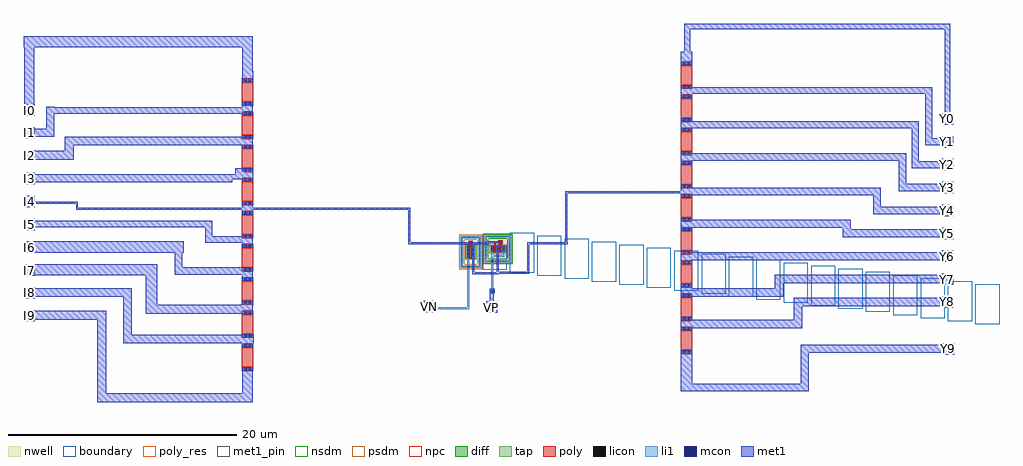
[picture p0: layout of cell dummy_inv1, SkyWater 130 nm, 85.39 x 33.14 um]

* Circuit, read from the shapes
.subckt dummy_inv1 I0 I1 I2 I3 I4 I5 I6 I7 I8 I9 VN VP Y0 Y1 Y2 Y3 Y4 Y5 Y6 Y7 Y8 Y9
XM1 Y4 I4 VN VN sky130_fd_pr__nfet_01v8 w=1 l=0.15
XM2 Y4 I4 VP VP sky130_fd_pr__pfet_01v8 w=0.5 l=0.15 m=2
R3 I8 I9 sky130_fd_pr__res_generic_po w=1 l=1.65
R4 I7 I8 sky130_fd_pr__res_generic_po w=1 l=1.65
R5 I6 I7 sky130_fd_pr__res_generic_po w=1 l=1.65
R6 I5 I6 sky130_fd_pr__res_generic_po w=1 l=1.65
R7 I4 I5 sky130_fd_pr__res_generic_po w=1 l=1.65
R8 I3 I4 sky130_fd_pr__res_generic_po w=1 l=1.65
R9 I2 I3 sky130_fd_pr__res_generic_po w=1 l=1.65
R10 I1 I2 sky130_fd_pr__res_generic_po w=1 l=1.65
R11 I0 I1 sky130_fd_pr__res_generic_po w=1 l=1.65
R12 Y8 Y9 sky130_fd_pr__res_generic_po w=1 l=1.65
R13 Y7 Y8 sky130_fd_pr__res_generic_po w=1 l=1.65
R14 Y6 Y7 sky130_fd_pr__res_generic_po w=1 l=1.65
R15 Y5 Y6 sky130_fd_pr__res_generic_po w=1 l=1.65
R16 Y4 Y5 sky130_fd_pr__res_generic_po w=1 l=1.65
R17 Y3 Y4 sky130_fd_pr__res_generic_po w=1 l=1.65
R18 Y2 Y3 sky130_fd_pr__res_generic_po w=1 l=1.65
R19 Y1 Y2 sky130_fd_pr__res_generic_po w=1 l=1.65
R20 Y0 Y1 sky130_fd_pr__res_generic_po w=1 l=1.65
.ends

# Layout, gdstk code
import gdstk
lib = gdstk.Library(unit=1e-6, precision=1e-09)
def R(c, l, rs):  # rectangles x0, y0, x1, y1
    for r in rs: c.add(gdstk.rectangle(r[:2], r[2:], *l))
def A(c, l, x, y, w, h, nx, ny, dx, dy):  # array of equal rectangles
    R(c, l, [(x+i*dx, y+j*dy, x+i*dx+w, y+j*dy+h) for i in range(nx) for j in range(ny)])
nwell = (64, 20)
diff = (65, 20)
tap = (65, 44)
poly_res = (66, 13)
poly = (66, 20)
licon = (66, 44)
li1 = (67, 20)
mcon = (67, 44)
met1_pin = (68, 16)
met1 = (68, 20)
nsdm = (93, 44)
psdm = (94, 20)
npc = (95, 20)
boundary = (235, 4)

sky130_fd_pr__pfet_01v8_ = lib.new_cell('sky130_fd_pr__pfet_01v8_XJT6XQ')
R(sky130_fd_pr__pfet_01v8_, nwell, [(-1.045,-0.605,1.585,2.085)])
R(sky130_fd_pr__pfet_01v8_, diff, [(-0.355,0.49,0.895,0.99)])
R(sky130_fd_pr__pfet_01v8_, tap, [(-0.865,-0.425,1.405,-0.255), (-0.865,-0.255,-0.695,1.735), (1.235,-0.255,1.405,1.735), (-0.865,1.735,1.405,1.905)])
R(sky130_fd_pr__pfet_01v8_, poly, [(-0.045,0.335,0.105,1.245), (0.435,0.36,0.585,1.145), (0.345,1.145,0.675,1.245), (-0.045,1.245,0.675,1.4), (0.345,1.4,0.675,1.475)])
A(sky130_fd_pr__pfet_01v8_, licon, -0.325, -0.425, 0.17, 0.17, 4, 2, 0.34, 2.16)
A(sky130_fd_pr__pfet_01v8_, licon, -0.865, 0.145, 0.17, 0.17, 1, 4, 0, 0.34)
A(sky130_fd_pr__pfet_01v8_, licon, 1.235, 0.145, 0.17, 0.17, 1, 4, 0, 0.34)
A(sky130_fd_pr__pfet_01v8_, licon, -0.295, 0.655, 0.17, 0.17, 3, 1, 0.48, 0)
R(sky130_fd_pr__pfet_01v8_, licon, [(0.425,1.225,0.595,1.395)])
R(sky130_fd_pr__pfet_01v8_, li1, [(-0.355,-3.125,-0.035,-2.765), (-0.295,-2.765,-0.125,-0.425), (-0.865,-0.425,1.405,-0.255), (-0.865,-0.255,-0.695,1.735), (-0.295,-0.255,-0.125,0.05), (1.235,-0.255,1.405,1.735), (-0.295,0.05,0.835,0.22), (-0.295,0.22,-0.125,1.01), (0.665,0.22,0.835,1.01), (0.185,0.47,0.355,1.01), (0.345,1.225,0.675,1.395), (-0.865,1.735,1.405,1.905)])
A(sky130_fd_pr__pfet_01v8_, mcon, -0.295, 0.655, 0.17, 0.17, 3, 1, 0.48, 0)
R(sky130_fd_pr__pfet_01v8_, mcon, [(-0.28,-3.04,-0.11,-2.87), (0.425,1.225,0.595,1.395)])
A(sky130_fd_pr__pfet_01v8_, met1, -0.325, 0.49, 0.23, 0.5, 3, 1, 0.48, 0)
R(sky130_fd_pr__pfet_01v8_, met1, [(16.275,-11.72,27.46,-11.045), (16.275,-11.045,17.265,-8.14), (26.785,-11.045,27.46,-8.34), (26.785,-8.34,40.015,-7.665), (16.265,-6.345,17.255,-6.21), (16.265,-6.21,26.915,-5.47), (16.265,-5.47,17.255,-5.185), (26.175,-5.47,26.915,-4.27), (-0.445,-4.53,-0.08,-3.135), (26.175,-4.27,39.975,-3.53), (16.285,-3.49,17.275,-3.47), (16.285,-3.47,25.285,-2.69), (-0.45,-3.135,-0.005,-2.735), (16.285,-2.69,17.275,-2.33), (24.505,-2.69,25.285,-2.29), (24.505,-2.29,39.995,-1.51), (0.185,-1.425,3.015,-1.255), (0.185,-1.255,0.355,0.49), (2.845,-1.255,3.015,1.135), (16.29,-0.595,17.28,-0.24), (16.29,-0.24,39.95,0.445), (16.29,0.445,17.28,0.565), (2.845,1.135,6.37,1.305), (0.365,1.195,0.655,1.225), (0.345,1.225,0.655,1.24), (0.155,1.24,0.655,1.395), (6.155,1.305,6.325,5.61), (0.365,1.395,0.655,1.425), (30.445,1.76,39.95,2.445), (16.275,2.315,17.265,2.58), (30.445,2.445,31.13,2.58), (16.275,2.58,31.13,3.265), (16.275,3.265,17.265,3.475), (33.11,3.77,39.935,4.43), (33.11,4.43,33.77,5.425), (16.275,5.205,17.265,5.425), (16.275,5.425,33.77,5.61), (6.155,5.61,33.77,5.78), (35.35,5.775,39.93,6.425), (16.275,5.78,33.77,6.085), (16.275,6.085,17.265,6.365), (35.35,6.425,36,8.435), (36.495,7.8,39.905,8.4), (16.28,8.11,17.27,8.435), (36.495,8.4,37.095,11.29), (16.28,8.435,36,9.085), (16.28,9.085,17.27,9.27), (37.68,9.805,39.905,10.4), (37.68,10.4,38.275,14.29), (16.275,11.015,17.265,11.29), (16.275,11.29,37.095,11.89), (39.35,11.845,39.865,19.93), (16.275,11.89,17.265,12.175), (16.28,13.91,17.27,14.29), (16.28,14.29,38.275,14.885), (16.28,14.885,17.27,15.07), (16.285,16.815,17.275,17.975), (16.57,17.975,17.085,19.93), (16.57,19.93,39.865,20.445)])
R(sky130_fd_pr__pfet_01v8_, nsdm, [(-0.99,-0.55,1.53,-0.13), (-0.99,-0.13,-0.57,1.61), (1.11,-0.13,1.53,1.61), (-0.99,1.61,1.53,2.03)])
R(sky130_fd_pr__pfet_01v8_, psdm, [(-0.48,0.365,1.02,1.115)])
R(sky130_fd_pr__pfet_01v8_, npc, [(0.325,1.125,0.695,1.495)])
R(sky130_fd_pr__pfet_01v8_, boundary, [(-1.05,-1.08,1.05,1.08)])

sky130_fd_pr__res_generi = lib.new_cell('sky130_fd_pr__res_generic_po_JD8CB6')
A(sky130_fd_pr__res_generi, poly_res, -5.03, -20.805, 1, 1.65, 1, 9, 0, 2.9)
A(sky130_fd_pr__res_generi, poly, -5.03, -21.17, 1, 2.38, 1, 9, 0, 2.9)
R(sky130_fd_pr__res_generi, licon, [(-4.785,-21.09,-4.615,-20.92), (-4.445,-21.09,-4.275,-20.92), (-4.785,-19.04,-4.615,-18.87), (-4.445,-19.04,-4.275,-18.87), (-4.785,-18.19,-4.615,-18.02), (-4.445,-18.19,-4.275,-18.02), (-4.785,-16.14,-4.615,-15.97), (-4.445,-16.14,-4.275,-15.97), (-4.785,-15.29,-4.615,-15.12), (-4.445,-15.29,-4.275,-15.12), (-4.785,-13.24,-4.615,-13.07), (-4.445,-13.24,-4.275,-13.07), (-4.785,-12.39,-4.615,-12.22), (-4.445,-12.39,-4.275,-12.22), (-4.785,-10.34,-4.615,-10.17), (-4.445,-10.34,-4.275,-10.17), (-4.785,-9.49,-4.615,-9.32), (-4.445,-9.49,-4.275,-9.32), (-4.785,-7.44,-4.615,-7.27), (-4.445,-7.44,-4.275,-7.27), (-4.785,-6.59,-4.615,-6.42), (-4.445,-6.59,-4.275,-6.42), (-4.785,-4.54,-4.615,-4.37), (-4.445,-4.54,-4.275,-4.37), (-4.785,-3.69,-4.615,-3.52), (-4.445,-3.69,-4.275,-3.52), (-4.785,-1.64,-4.615,-1.47), (-4.445,-1.64,-4.275,-1.47), (-4.785,-0.79,-4.615,-0.62), (-4.445,-0.79,-4.275,-0.62), (-4.785,1.26,-4.615,1.43), (-4.445,1.26,-4.275,1.43), (-4.785,2.11,-4.615,2.28), (-4.445,2.11,-4.275,2.28), (-4.785,4.16,-4.615,4.33), (-4.445,4.16,-4.275,4.33)])
R(sky130_fd_pr__res_generi, li1, [(-5.03,-21.09,-4.03,-20.92), (-4.95,-20.92,-4.11,-20.89), (-4.95,-19.07,-4.11,-19.04), (-5.03,-19.04,-4.03,-18.87), (-5.03,-18.19,-4.03,-18.02), (-4.95,-18.02,-4.11,-17.99), (-4.95,-16.17,-4.11,-16.14), (-5.03,-16.14,-4.03,-15.97), (-5.03,-15.29,-4.03,-15.12), (-4.95,-15.12,-4.11,-15.09), (-4.95,-13.27,-4.11,-13.24), (-5.03,-13.24,-4.03,-13.07), (-5.03,-12.39,-4.03,-12.22), (-4.95,-12.22,-4.11,-12.19), (-4.95,-10.37,-4.11,-10.34), (-5.03,-10.34,-4.03,-10.17), (-5.03,-9.49,-4.03,-9.32), (-4.95,-9.32,-4.11,-9.29), (-4.95,-7.47,-4.11,-7.44), (-5.03,-7.44,-4.03,-7.27), (-5.03,-6.59,-4.03,-6.42), (-4.95,-6.42,-4.11,-6.39), (-4.95,-4.57,-4.11,-4.54), (-5.03,-4.54,-4.03,-4.37), (-5.03,-3.69,-4.03,-3.52), (-4.95,-3.52,-4.11,-3.49), (-4.95,-1.67,-4.11,-1.64), (-5.03,-1.64,-4.03,-1.47), (-5.03,-0.79,-4.03,-0.62), (-4.95,-0.62,-4.11,-0.59), (-4.95,1.23,-4.11,1.26), (-5.03,1.26,-4.03,1.43), (-5.03,2.11,-4.03,2.28), (-4.95,2.28,-4.11,2.31), (-4.95,4.13,-4.11,4.16), (-5.03,4.16,-4.03,4.33)])
R(sky130_fd_pr__res_generi, mcon, [(-4.795,-21.075,-4.625,-20.905), (-4.435,-21.075,-4.265,-20.905), (-4.795,-19.055,-4.625,-18.885), (-4.435,-19.055,-4.265,-18.885), (-4.795,-18.175,-4.625,-18.005), (-4.435,-18.175,-4.265,-18.005), (-4.795,-16.155,-4.625,-15.985), (-4.435,-16.155,-4.265,-15.985), (-4.795,-15.275,-4.625,-15.105), (-4.435,-15.275,-4.265,-15.105), (-4.795,-13.255,-4.625,-13.085), (-4.435,-13.255,-4.265,-13.085), (-4.795,-12.375,-4.625,-12.205), (-4.435,-12.375,-4.265,-12.205), (-4.795,-10.355,-4.625,-10.185), (-4.435,-10.355,-4.265,-10.185), (-4.795,-9.475,-4.625,-9.305), (-4.435,-9.475,-4.265,-9.305), (-4.795,-7.455,-4.625,-7.285), (-4.435,-7.455,-4.265,-7.285), (-4.795,-6.575,-4.625,-6.405), (-4.435,-6.575,-4.265,-6.405), (-4.795,-4.555,-4.625,-4.385), (-4.435,-4.555,-4.265,-4.385), (-4.795,-3.675,-4.625,-3.505), (-4.435,-3.675,-4.265,-3.505), (-4.795,-1.655,-4.625,-1.485), (-4.435,-1.655,-4.265,-1.485), (-4.795,-0.775,-4.625,-0.605), (-4.435,-0.775,-4.265,-0.605), (-4.795,1.245,-4.625,1.415), (-4.435,1.245,-4.265,1.415), (-4.795,2.125,-4.625,2.295), (-4.435,2.125,-4.265,2.295), (-4.795,4.145,-4.625,4.315), (-4.435,4.145,-4.265,4.315)])
R(sky130_fd_pr__res_generi, met1, [(-5.01,-21.12,-4.05,-20.86), (-5.01,-19.1,-4.05,-18.84), (-5.01,-18.22,-4.05,-17.96), (-5.01,-16.2,-4.05,-15.94), (-5.01,-15.32,-4.05,-15.06), (-5.01,-13.3,-4.05,-13.04), (-5.01,-12.42,-4.05,-12.16), (-5.01,-10.4,-4.05,-10.14), (-5.01,-9.52,-4.05,-9.26), (-5.01,-7.5,-4.05,-7.24), (-5.01,-6.62,-4.05,-6.36), (-5.01,-4.6,-4.05,-4.34), (-5.01,-3.72,-4.05,-3.46), (-5.01,-1.7,-4.05,-1.44), (-5.01,-0.82,-4.05,-0.56), (-5.01,1.2,-4.05,1.46), (-5.01,2.08,-4.05,2.34), (-5.01,4.1,-4.05,4.36)])
R(sky130_fd_pr__res_generi, npc, [(-4.885,-21.19,-4.175,-20.82), (-4.885,-19.14,-4.175,-18.77), (-4.885,-18.29,-4.175,-17.92), (-4.885,-16.24,-4.175,-15.87), (-4.885,-15.39,-4.175,-15.02), (-4.885,-13.34,-4.175,-12.97), (-4.885,-12.49,-4.175,-12.12), (-4.885,-10.44,-4.175,-10.07), (-4.885,-9.59,-4.175,-9.22), (-4.885,-7.54,-4.175,-7.17), (-4.885,-6.69,-4.175,-6.32), (-4.885,-4.64,-4.175,-4.27), (-4.885,-3.79,-4.175,-3.42), (-4.885,-1.74,-4.175,-1.37), (-4.885,-0.89,-4.175,-0.52), (-4.885,1.16,-4.175,1.53), (-4.885,2.01,-4.175,2.38), (-4.885,4.06,-4.175,4.43)])

c_sky130_fd_pr__res_generi = lib.new_cell('sky130_fd_pr__res_generic_po_4WEV9M')
R(c_sky130_fd_pr__res_generi, boundary, [(-1.06,-1.75,1.06,1.75)])

c_sky130_fd_pr__res_generi_ = lib.new_cell('sky130_fd_pr__res_generic_po_C4R5Y4')

sky130_fd_pr__nfet_01v8_ = lib.new_cell('sky130_fd_pr__nfet_01v8_648S5X')
R(sky130_fd_pr__nfet_01v8_, nwell, [(1.545,0.77,2.345,0.865), (1.545,0.865,2.485,0.91), (2.315,0.91,2.485,0.935)])
R(sky130_fd_pr__nfet_01v8_, diff, [(-0.365,-0.5,0.365,0.5)])
R(sky130_fd_pr__nfet_01v8_, tap, [(-0.875,-1.37,0.875,-1.2), (-0.875,-1.2,-0.705,1.2), (0.705,-1.2,0.875,1.2), (-0.875,1.2,0.875,1.37)])
R(sky130_fd_pr__nfet_01v8_, poly, [(-0.075,-0.635,0.075,0.61), (-0.165,0.61,0.165,0.94)])
A(sky130_fd_pr__nfet_01v8_, licon, -0.875, -0.765, 0.17, 0.17, 1, 5, 0, 0.34)
A(sky130_fd_pr__nfet_01v8_, licon, 0.705, -0.765, 0.17, 0.17, 1, 5, 0, 0.34)
A(sky130_fd_pr__nfet_01v8_, licon, -0.305, -0.425, 0.17, 0.17, 1, 3, 0, 0.34)
A(sky130_fd_pr__nfet_01v8_, licon, 0.135, -0.425, 0.17, 0.17, 1, 3, 0, 0.34)
R(sky130_fd_pr__nfet_01v8_, licon, [(-0.255,-1.37,-0.085,-1.2), (0.085,-1.37,0.255,-1.2), (-0.085,0.69,0.085,0.86), (-0.255,1.2,-0.085,1.37), (0.085,1.2,0.255,1.37)])
R(sky130_fd_pr__nfet_01v8_, li1, [(-4.115,-5.29,-3.11,-5), (-4.115,-5,-0.135,-4.83), (-4.115,-4.83,-3.11,-4.28), (-0.305,-4.83,-0.135,-1.37), (-0.875,-1.37,0.875,-1.2), (-0.875,-1.2,-0.705,1.2), (-0.305,-1.2,-0.135,0.52), (0.705,-1.2,0.875,1.2), (0.135,-0.52,0.305,0.52), (-0.165,0.69,0.165,0.86), (-0.875,1.2,0.875,1.37)])
R(sky130_fd_pr__nfet_01v8_, mcon, [(-3.815,-4.875,-3.645,-4.705), (-3.455,-4.875,-3.285,-4.705), (-0.305,-0.265,-0.135,-0.095), (0.135,-0.265,0.305,-0.095), (-0.305,0.095,-0.135,0.265), (0.135,0.095,0.305,0.265), (-0.085,0.69,0.085,0.86)])
R(sky130_fd_pr__nfet_01v8_, met1, [(-32.685,-13.165,-19.075,-13.065), (-32.685,-13.065,-19.06,-12.38), (-32.685,-12.38,-31.9,-5.95), (-20.005,-12.38,-19.06,-10.18), (-20.01,-8.345,-19.04,-8), (-30.42,-8,-18.96,-7.245), (-30.42,-7.245,-29.665,-3.935), (-38.98,-5.95,-31.9,-5.165), (-28.45,-5.4,-27.455,-5.395), (-28.45,-5.395,-19.205,-5.355), (-28.45,-5.355,-19.05,-4.725), (-4.115,-5.29,-3.11,-4.28), (-28.45,-4.725,-19.045,-4.625), (-28.45,-4.625,-27.435,-4.495), (-20.015,-4.625,-19.045,-4.285), (-28.45,-4.495,-27.44,-4.275), (-28.44,-4.275,-27.44,-2.06), (-38.965,-3.935,-29.665,-3.18), (-19.995,-2.46,-19.05,-2.01), (-39.09,-2.06,-27.44,-1.06), (-25.91,-2.01,-19.05,-1.45), (0.13,-1.97,2.46,-1.8), (0.13,-1.8,0.3,-0.5), (-25.91,-1.45,-19.215,-1.355), (-25.91,-1.355,-25.255,-0.06), (-0.335,-0.5,-0.105,0.5), (0.105,-0.5,0.335,0.5), (-39.09,-0.06,-25.085,0.94), (-20.005,0.495,-19.06,0.785), (-0.145,0.66,0.145,0.69), (-5.48,0.69,1.575,0.77), (-5.48,0.77,2.345,0.86), (-23.22,0.785,-19.06,1.38), (-5.48,0.86,-5.31,3.7), (-0.145,0.86,0.145,0.89), (1.445,0.86,2.345,0.865), (1.445,0.865,2.485,0.935), (-23.22,1.38,-22.625,2.145), (-20.005,1.38,-19.06,1.505), (-38.885,2.145,-22.625,2.74), (-19.995,3.31,-19.05,3.7), (-34.53,3.7,-5.31,3.87), (-34.53,3.87,-34.36,4.22), (-19.995,3.87,-19.05,4.32), (-38.6,4.22,-34.36,4.39), (-38.93,6.1,-20.85,6.36), (-19.99,6.295,-19.045,6.36), (-38.93,6.36,-19.045,6.775), (-38.93,6.775,-30.82,6.78), (-20.62,6.775,-19.045,6.87), (-20.615,6.87,-19.045,7.305), (-38.98,8.05,-34.745,8.83), (-35.525,8.83,-34.745,9.315), (-20.025,9.185,-19.08,9.315), (-35.525,9.315,-19.08,10.095), (-38.94,10.09,-36.45,10.79), (-20.025,10.095,-19.08,10.195), (-37.15,10.79,-36.45,12.1), (-20,11.965,-19.055,12.1), (-37.15,12.1,-19.055,12.64), (-39.05,12.395,-38.205,17.925), (-37.15,12.64,-36.45,12.72), (-20,12.64,-19.055,12.975), (-19.99,14.905,-19.045,15.835), (-19.99,15.835,-19.06,17.925), (-39.095,17.925,-19.06,18.855)])
R(sky130_fd_pr__nfet_01v8_, nsdm, [(-0.49,-0.625,0.49,0.625)])
R(sky130_fd_pr__nfet_01v8_, psdm, [(-1,-1.495,1,-1.075), (-1,-1.075,-0.58,1.075), (0.58,-1.075,1,1.075), (-1,1.075,1,1.495)])
R(sky130_fd_pr__nfet_01v8_, npc, [(-0.185,0.59,0.185,0.96)])
R(sky130_fd_pr__nfet_01v8_, boundary, [(-0.79,-1.285,0.79,1.285)])

dummy_inv1 = lib.new_cell('dummy_inv1')
A(dummy_inv1, poly_res, 19.17, -4.275, 1, 1.65, 1, 9, 0, 2.9)
A(dummy_inv1, poly, 19.17, -4.64, 1, 2.38, 1, 9, 0, 2.9)
R(dummy_inv1, licon, [(19.415,-4.56,19.585,-4.39), (19.755,-4.56,19.925,-4.39), (19.415,-2.51,19.585,-2.34), (19.755,-2.51,19.925,-2.34), (19.415,-1.66,19.585,-1.49), (19.755,-1.66,19.925,-1.49), (19.415,0.39,19.585,0.56), (19.755,0.39,19.925,0.56), (19.415,1.24,19.585,1.41), (19.755,1.24,19.925,1.41), (19.415,3.29,19.585,3.46), (19.755,3.29,19.925,3.46), (19.415,4.14,19.585,4.31), (19.755,4.14,19.925,4.31), (19.415,6.19,19.585,6.36), (19.755,6.19,19.925,6.36), (19.415,7.04,19.585,7.21), (19.755,7.04,19.925,7.21), (19.415,9.09,19.585,9.26), (19.755,9.09,19.925,9.26), (19.415,9.94,19.585,10.11), (19.755,9.94,19.925,10.11), (19.415,11.99,19.585,12.16), (19.755,11.99,19.925,12.16), (19.415,12.84,19.585,13.01), (19.755,12.84,19.925,13.01), (19.415,14.89,19.585,15.06), (19.755,14.89,19.925,15.06), (19.415,15.74,19.585,15.91), (19.755,15.74,19.925,15.91), (19.415,17.79,19.585,17.96), (19.755,17.79,19.925,17.96), (19.415,18.64,19.585,18.81), (19.755,18.64,19.925,18.81), (19.415,20.69,19.585,20.86), (19.755,20.69,19.925,20.86)])
R(dummy_inv1, li1, [(19.17,-4.56,20.17,-4.39), (19.25,-4.39,20.09,-4.36), (19.25,-2.54,20.09,-2.51), (19.17,-2.51,20.17,-2.34), (19.17,-1.66,20.17,-1.49), (19.25,-1.49,20.09,-1.46), (19.25,0.36,20.09,0.39), (19.17,0.39,20.17,0.56), (19.17,1.24,20.17,1.41), (19.25,1.41,20.09,1.44), (19.25,3.26,20.09,3.29), (19.17,3.29,20.17,3.46), (19.17,4.14,20.17,4.31), (19.25,4.31,20.09,4.34), (19.25,6.16,20.09,6.19), (19.17,6.19,20.17,6.36), (19.17,7.04,20.17,7.21), (19.25,7.21,20.09,7.24), (19.25,9.06,20.09,9.09), (19.17,9.09,20.17,9.26), (19.17,9.94,20.17,10.11), (19.25,10.11,20.09,10.14), (19.25,11.96,20.09,11.99), (19.17,11.99,20.17,12.16), (19.17,12.84,20.17,13.01), (19.25,13.01,20.09,13.04), (19.25,14.86,20.09,14.89), (19.17,14.89,20.17,15.06), (19.17,15.74,20.17,15.91), (19.25,15.91,20.09,15.94), (19.25,17.76,20.09,17.79), (19.17,17.79,20.17,17.96), (19.17,18.64,20.17,18.81), (19.25,18.81,20.09,18.84), (19.25,20.66,20.09,20.69), (19.17,20.69,20.17,20.86)])
R(dummy_inv1, mcon, [(19.405,-4.545,19.575,-4.375), (19.765,-4.545,19.935,-4.375), (19.405,-2.525,19.575,-2.355), (19.765,-2.525,19.935,-2.355), (19.405,-1.645,19.575,-1.475), (19.765,-1.645,19.935,-1.475), (19.405,0.375,19.575,0.545), (19.765,0.375,19.935,0.545), (19.405,1.255,19.575,1.425), (19.765,1.255,19.935,1.425), (19.405,3.275,19.575,3.445), (19.765,3.275,19.935,3.445), (19.405,4.155,19.575,4.325), (19.765,4.155,19.935,4.325), (19.405,6.175,19.575,6.345), (19.765,6.175,19.935,6.345), (19.405,7.055,19.575,7.225), (19.765,7.055,19.935,7.225), (19.405,9.075,19.575,9.245), (19.765,9.075,19.935,9.245), (19.405,9.955,19.575,10.125), (19.765,9.955,19.935,10.125), (19.405,11.975,19.575,12.145), (19.765,11.975,19.935,12.145), (19.405,12.855,19.575,13.025), (19.765,12.855,19.935,13.025), (19.405,14.875,19.575,15.045), (19.765,14.875,19.935,15.045), (19.405,15.755,19.575,15.925), (19.765,15.755,19.935,15.925), (19.405,17.775,19.575,17.945), (19.765,17.775,19.935,17.945), (19.405,18.655,19.575,18.825), (19.765,18.655,19.935,18.825), (19.405,20.675,19.575,20.845), (19.765,20.675,19.935,20.845)])
A(dummy_inv1, met1_pin, -38.335, -1.8, 1, 1, 1, 10, 0, 2)
A(dummy_inv1, met1_pin, 42, -0.585, 1, 1, 1, 9, 0, 2)
R(dummy_inv1, met1_pin, [(42.07,-4.69,43.07,-3.69), (2.13,-1.035,3.13,-0.035), (-3.32,-1,-2.32,0)])
A(dummy_inv1, met1, -38.335, -1.8, 1, 1, 1, 10, 0, 2)
A(dummy_inv1, met1, 42, -0.585, 1, 1, 1, 9, 0, 2)
R(dummy_inv1, met1, [(42.07,-4.69,43.07,-3.69), (19.19,-4.59,20.15,-4.33), (19.19,-2.57,20.15,-2.31), (19.19,-1.69,20.15,-1.43), (2.13,-1.035,3.13,-0.035), (-3.32,-1,-2.32,0), (19.19,0.33,20.15,0.59), (19.19,1.21,20.15,1.47), (19.19,3.23,20.15,3.49), (19.19,4.11,20.15,4.37), (19.19,6.13,20.15,6.39), (19.19,7.01,20.15,7.27), (19.19,9.03,20.15,9.29), (19.19,9.91,20.15,10.17), (19.19,11.93,20.15,12.19), (19.19,12.81,20.15,13.07), (19.19,14.83,20.15,15.09), (19.19,15.71,20.15,15.97), (19.19,17.73,20.15,17.99), (19.19,18.61,20.15,18.87), (19.19,20.63,20.15,20.89)])
R(dummy_inv1, npc, [(19.315,-4.66,20.025,-4.29), (19.315,-2.61,20.025,-2.24), (19.315,-1.76,20.025,-1.39), (19.315,0.29,20.025,0.66), (19.315,1.14,20.025,1.51), (19.315,3.19,20.025,3.56), (19.315,4.04,20.025,4.41), (19.315,6.09,20.025,6.46), (19.315,6.94,20.025,7.31), (19.315,8.99,20.025,9.36), (19.315,9.84,20.025,10.21), (19.315,11.89,20.025,12.26), (19.315,12.74,20.025,13.11), (19.315,14.79,20.025,15.16), (19.315,15.64,20.025,16.01), (19.315,17.69,20.025,18.06), (19.315,18.54,20.025,18.91), (19.315,20.59,20.025,20.96)])
dummy_inv1.add(gdstk.Reference(sky130_fd_pr__pfet_01v8_, (2.895,3.815)))
dummy_inv1.add(gdstk.Reference(sky130_fd_pr__res_generi, (-14.2,15.05)))
dummy_inv1.add(gdstk.Reference(c_sky130_fd_pr__res_generi, (10.065,3.695)))
dummy_inv1.add(gdstk.Reference(c_sky130_fd_pr__res_generi, (7.67,3.96)))
dummy_inv1.add(gdstk.Reference(c_sky130_fd_pr__res_generi, (5.275,4.225)))
dummy_inv1.add(gdstk.Reference(c_sky130_fd_pr__res_generi, (19.645,2.635)))
dummy_inv1.add(gdstk.Reference(c_sky130_fd_pr__res_generi, (17.25,2.9)))
dummy_inv1.add(gdstk.Reference(c_sky130_fd_pr__res_generi, (14.855,3.165)))
dummy_inv1.add(gdstk.Reference(c_sky130_fd_pr__res_generi, (12.46,3.43)))
dummy_inv1.add(gdstk.Reference(c_sky130_fd_pr__res_generi, (29.225,1.575)))
dummy_inv1.add(gdstk.Reference(c_sky130_fd_pr__res_generi, (26.83,1.84)))
dummy_inv1.add(gdstk.Reference(c_sky130_fd_pr__res_generi, (24.435,2.105)))
dummy_inv1.add(gdstk.Reference(c_sky130_fd_pr__res_generi, (22.04,2.37)))
dummy_inv1.add(gdstk.Reference(c_sky130_fd_pr__res_generi, (36.41,0.78)))
dummy_inv1.add(gdstk.Reference(c_sky130_fd_pr__res_generi, (34.015,1.045)))
dummy_inv1.add(gdstk.Reference(c_sky130_fd_pr__res_generi, (31.62,1.31)))
dummy_inv1.add(gdstk.Reference(c_sky130_fd_pr__res_generi, (45.99,-0.28)))
dummy_inv1.add(gdstk.Reference(c_sky130_fd_pr__res_generi, (43.595,-0.015)))
dummy_inv1.add(gdstk.Reference(c_sky130_fd_pr__res_generi, (41.2,0.25)))
dummy_inv1.add(gdstk.Reference(c_sky130_fd_pr__res_generi, (38.805,0.515)))
dummy_inv1.add(gdstk.Reference(c_sky130_fd_pr__res_generi_, (36.005,13.84)))
dummy_inv1.add(gdstk.Reference(sky130_fd_pr__nfet_01v8_, (0.79,4.285)))
dummy_inv1.add(gdstk.Label('Y0', (42.5,15.915), layer=68, texttype=16))
dummy_inv1.add(gdstk.Label('Y1', (42.5,13.915), layer=68, texttype=16))
dummy_inv1.add(gdstk.Label('Y2', (42.5,11.915), layer=68, texttype=16))
dummy_inv1.add(gdstk.Label('Y3', (42.5,9.915), layer=68, texttype=16))
dummy_inv1.add(gdstk.Label('Y4', (42.5,7.915), layer=68, texttype=16))
dummy_inv1.add(gdstk.Label('Y5', (42.5,5.915), layer=68, texttype=16))
dummy_inv1.add(gdstk.Label('Y6', (42.5,3.915), layer=68, texttype=16))
dummy_inv1.add(gdstk.Label('Y7', (42.5,1.915), layer=68, texttype=16))
dummy_inv1.add(gdstk.Label('Y8', (42.5,-0.085), layer=68, texttype=16))
dummy_inv1.add(gdstk.Label('VP', (2.63,-0.535), layer=68, texttype=16))
dummy_inv1.add(gdstk.Label('VN', (-2.82,-0.5), layer=68, texttype=16))
dummy_inv1.add(gdstk.Label('I9', (-37.835,-1.3), layer=68, texttype=16))
dummy_inv1.add(gdstk.Label('I8', (-37.835,0.7), layer=68, texttype=16))
dummy_inv1.add(gdstk.Label('I7', (-37.835,2.7), layer=68, texttype=16))
dummy_inv1.add(gdstk.Label('I6', (-37.835,4.7), layer=68, texttype=16))
dummy_inv1.add(gdstk.Label('I5', (-37.835,6.7), layer=68, texttype=16))
dummy_inv1.add(gdstk.Label('I4', (-37.835,8.7), layer=68, texttype=16))
dummy_inv1.add(gdstk.Label('I3', (-37.835,10.7), layer=68, texttype=16))
dummy_inv1.add(gdstk.Label('I2', (-37.835,12.7), layer=68, texttype=16))
dummy_inv1.add(gdstk.Label('I1', (-37.835,14.7), layer=68, texttype=16))
dummy_inv1.add(gdstk.Label('I0', (-37.835,16.7), layer=68, texttype=16))
dummy_inv1.add(gdstk.Label('Y9', (42.57,-4.19), layer=68, texttype=16))

lib.write_gds('dummy_inv1.gds')
